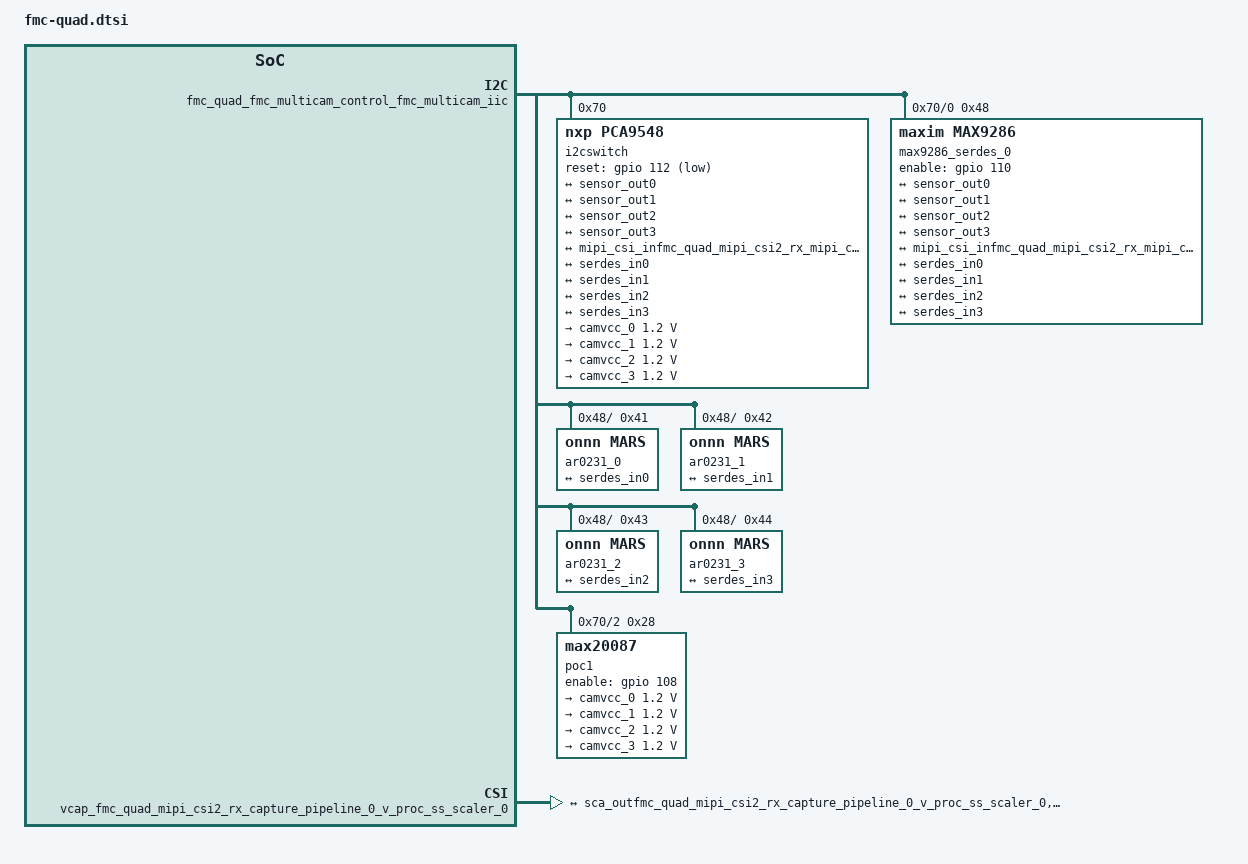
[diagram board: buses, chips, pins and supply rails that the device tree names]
#include <dt-bindings/media/xilinx-vip.h>

&fmc_quad_fmc_multicam_control_fmc_multicam_iic {
    
    i2cswitch@70 {
        compatible = "nxp,pca9548";
        #address-cells = <1>;
        #size-cells = <0>;
        reg = <0x70>;
        reset-gpios = <&gpio 112 1>;

        i2c@0 {
            #address-cells = <1>;
            #size-cells = <0>;
            reg = <0>;

            max9286_serdes_0: serdes@48 {
                compatible = "maxim,max9286";
                reg = <0x48>;
                enable-gpios = <&gpio 110 0>;
                gpio-controller;
                #gpio-cells = <2>;
                maxim,reverse-channel-microvolt = <100000>;

                ports {
                    #address-cells = <1>;
                    #size-cells = <0>;

                    port@0 {
                        reg = <0>;
                        port-poc-supply = <&camvcc_0>;

                        serdes_in0: endpoint {
                            remote-endpoint = <&sensor_out0>;
                        };
                    };

                    port@1 {
                        reg = <1>;
                        port-poc-supply = <&camvcc_1>;

                        serdes_in1: endpoint {
                            remote-endpoint = <&sensor_out1>;
                        };
                    };

                    port@2 {
                        reg = <2>;
                        port-poc-supply = <&camvcc_2>;

                        serdes_in2: endpoint {
                            remote-endpoint = <&sensor_out2>;
                        };
                    };

                    port@3 {
                        reg = <3>;
                        port-poc-supply = <&camvcc_3>;

                        serdes_in3: endpoint {
                            remote-endpoint = <&sensor_out3>;
                        };
                    };

                    port@4 {
                        reg = <4>;

                        serdes_out0: endpoint {
                            data-lanes = <1 2 3 4>;
                            remote-endpoint = <&mipi_csi_infmc_quad_mipi_csi2_rx_mipi_csi2_rx_subsystem_0>;
                        };
                    };
                };

                i2c-mux {
                    #address-cells = <1>;
                    #size-cells = <0>;

                    i2c@0 {
                        #address-cells = <1>;
                        #size-cells = <0>;
                        reg = <0>;
                        poc = <3>;

                        ar0231_0: sensor@41 {
                            compatible = "onnn,mars";
                            reg = <0x41>, <0x11>;

                            port {
                                sensor_out0: endpoint {
                                    remote-endpoint = <&serdes_in0>;
                                };
                            };
                        };
                    };

                    i2c@1 {
                        #address-cells = <1>;
                        #size-cells = <0>;
                        reg = <1>;
                        poc = <5>;

                        ar0231_1: sensor@42 {
                            compatible = "onnn,mars";
                            reg = <0x42>, <0x12>;

                            port {
                                sensor_out1: endpoint {
                                    remote-endpoint = <&serdes_in1>;
                                };
                            };
                        };
                    };

                    i2c@2 {
                        #address-cells = <1>;
                        #size-cells = <0>;
                        reg = <2>;

                        ar0231_2: sensor@43 {
                            compatible = "onnn,mars";
                            reg = <0x43>, <0x13>;

                            port {
                                sensor_out2: endpoint {
                                    remote-endpoint = <&serdes_in2>;
                                };
                            };
                        };
                    };

                    i2c@3 {
                        #address-cells = <1>;
                        #size-cells = <0>;
                        reg = <3>;

                        ar0231_3: sensor@44 {
                            compatible = "onnn,mars";
                            reg = <0x44>, <0x14>;

                            port {
                                sensor_out3: endpoint {
                                    remote-endpoint = <&serdes_in3>;
                                };
                            };
                        };
                    };
                };
            };
        };

        /* Serializer & Sensor power */
        i2c@2 {
            #address-cells = <1>;
            #size-cells = <0>;
            reg = <2>;

            poc1: poc@28 {
                compatible = "max20087";
                reg = <0x28>;
                enable-gpios = <&gpio 108 0>;

                regulators {
                    camvcc_0: OUT1 {
                        regulator-name = "VOUT1";
                        regulator-min-microvolt = <1200000>;
                        regulator-max-microvolt = <1200000>;
                        regulator-min-microamp  = <600000>;
                        regulator-max-microamp  = <600000>;
                    };
                    camvcc_1: OUT2 {
                        regulator-name = "VOUT2";
                        regulator-min-microvolt = <1200000>;
                        regulator-max-microvolt = <1200000>;
                        regulator-min-microamp  = <600000>;
                        regulator-max-microamp  = <600000>;
                    };
                    camvcc_2: OUT3 {
                        regulator-name = "VOUT3";
                        regulator-min-microvolt = <1200000>;
                        regulator-max-microvolt = <1200000>;
                        regulator-min-microamp  = <600000>;
                        regulator-max-microamp  = <600000>;
                    };
                    camvcc_3: OUT4 {
                        regulator-name = "VOUT4";
                        regulator-min-microvolt = <1200000>;
                        regulator-max-microvolt = <1200000>;
                        regulator-min-microamp  = <600000>;
                        regulator-max-microamp  = <600000>;
                    };
                };
            };
        };
    };
};

&fmc_quad_mipi_csi2_rx_mipi_csi2_rx_subsystem_0 {
    compatible = "xlnx,mipi-csi2-rx-subsystem-5.0";
};

&mipi_csi_infmc_quad_mipi_csi2_rx_mipi_csi2_rx_subsystem_0 {
    data-lanes = <1 2 3 4>;
    remote-endpoint = <&serdes_out0>;
};

&fmc_quad_mipi_csi2_rx_capture_pipeline_0_v_proc_ss_csc_0
{
    compatible = "xlnx,v-vpss-csc";
};
&fmc_quad_mipi_csi2_rx_capture_pipeline_1_v_proc_ss_csc_1
{
    compatible = "xlnx,v-vpss-csc";
};
&fmc_quad_mipi_csi2_rx_capture_pipeline_2_v_proc_ss_csc_2
{
    compatible = "xlnx,v-vpss-csc";
};
&fmc_quad_mipi_csi2_rx_capture_pipeline_3_v_proc_ss_csc_3
{
    compatible = "xlnx,v-vpss-csc";
};

&fmc_quad_mipi_csi2_rx_capture_pipeline_0_v_proc_ss_scaler_0
{
    compatible = "xlnx,v-vpss-scaler-2.2";
};
&fmc_quad_mipi_csi2_rx_capture_pipeline_1_v_proc_ss_scaler_1
{
    compatible = "xlnx,v-vpss-scaler-2.2";
};
&fmc_quad_mipi_csi2_rx_capture_pipeline_2_v_proc_ss_scaler_2
{
    compatible = "xlnx,v-vpss-scaler-2.2";
};
&fmc_quad_mipi_csi2_rx_capture_pipeline_3_v_proc_ss_scaler_3
{
    compatible = "xlnx,v-vpss-scaler-2.2";
};

&fmc_quad_mipi_csi2_rx_capture_pipeline_0_v_frmbuf_wr_0
{
    xlnx,dma-align = <32>;
};
&fmc_quad_mipi_csi2_rx_capture_pipeline_1_v_frmbuf_wr_1
{
    xlnx,dma-align = <32>;
};
&fmc_quad_mipi_csi2_rx_capture_pipeline_2_v_frmbuf_wr_2
{
    xlnx,dma-align = <32>;
};
&fmc_quad_mipi_csi2_rx_capture_pipeline_3_v_frmbuf_wr_3
{
    xlnx,dma-align = <32>;
};

&fmc_quad_mipi_csi2_rx_axis_switch_0 {
    xlnx,num-si-slots = <0x1>;
    xlnx,num-mi-slots = <0x4>;
    clock-names = "aclk";
    clocks = <&misc_clk_0>;
};

&amba_pl {

    /delete-node/ vcap_fmc_quad_mipi_csi2_rx_capture_pipeline_0_v_proc_ss_scaler_0;
    /delete-node/ vcap_fmc_quad_mipi_csi2_rx_capture_pipeline_1_v_proc_ss_scaler_1;
    /delete-node/ vcap_fmc_quad_mipi_csi2_rx_capture_pipeline_2_v_proc_ss_scaler_2;
    /delete-node/ vcap_fmc_quad_mipi_csi2_rx_capture_pipeline_3_v_proc_ss_scaler_3;

    vcap_fmc_quad_mipi_csi2_rx_capture_pipeline_0_v_proc_ss_scaler_0 {
        compatible = "xlnx,video";
        dma-names = "port0", "port1", "port2", "port3";
        dmas = <&fmc_quad_mipi_csi2_rx_capture_pipeline_0_v_frmbuf_wr_0 0>, <&fmc_quad_mipi_csi2_rx_capture_pipeline_1_v_frmbuf_wr_1 0>, <&fmc_quad_mipi_csi2_rx_capture_pipeline_2_v_frmbuf_wr_2 0>, <&fmc_quad_mipi_csi2_rx_capture_pipeline_3_v_frmbuf_wr_3 0>;

        vcap_portsfmc_quad_mipi_csi2_rx_capture_pipeline_0_v_proc_ss_scaler_0: ports {
            #address-cells = <1>;
            #size-cells = <0>;

            vcap_portfmc_quad_mipi_csi2_rx_capture_pipeline_0_v_proc_ss_scaler_0: port@0 {
                direction = "input";
                reg = <0>;
                fmc_quad_mipi_csi2_rx_capture_pipeline_0_v_frmbuf_wr_0fmc_quad_mipi_csi2_rx_capture_pipeline_0_v_proc_ss_scaler_0: endpoint {
                    remote-endpoint = <&sca_outfmc_quad_mipi_csi2_rx_capture_pipeline_0_v_proc_ss_scaler_0>;
                };
            };

            vcap_portfmc_quad_mipi_csi2_rx_capture_pipeline_1_v_proc_ss_scaler_1: port@1 {
                direction = "input";
                reg = <1>;
                fmc_quad_mipi_csi2_rx_capture_pipeline_1_v_frmbuf_wr_1fmc_quad_mipi_csi2_rx_capture_pipeline_1_v_proc_ss_scaler_1: endpoint {
                    remote-endpoint = <&sca_outfmc_quad_mipi_csi2_rx_capture_pipeline_1_v_proc_ss_scaler_1>;
                };
            };

            vcap_portfmc_quad_mipi_csi2_rx_capture_pipeline_2_v_proc_ss_scaler_2: port@2 {
                direction = "input";
                reg = <2>;
                fmc_quad_mipi_csi2_rx_capture_pipeline_2_v_frmbuf_wr_2fmc_quad_mipi_csi2_rx_capture_pipeline_2_v_proc_ss_scaler_2: endpoint {
                    remote-endpoint = <&sca_outfmc_quad_mipi_csi2_rx_capture_pipeline_2_v_proc_ss_scaler_2>;
                };
            };

            vcap_portfmc_quad_mipi_csi2_rx_capture_pipeline_3_v_proc_ss_scaler_3: port@3 {
                direction = "input";
                reg = <3>;
                fmc_quad_mipi_csi2_rx_capture_pipeline_3_v_frmbuf_wr_3fmc_quad_mipi_csi2_rx_capture_pipeline_3_v_proc_ss_scaler_3: endpoint {
                    remote-endpoint = <&sca_outfmc_quad_mipi_csi2_rx_capture_pipeline_3_v_proc_ss_scaler_3>;
                };
            };
        };
    };
};
